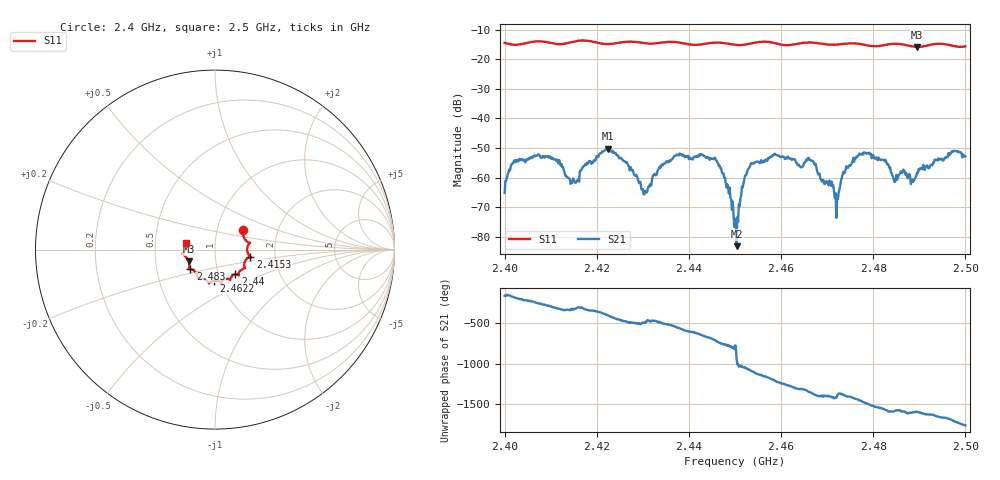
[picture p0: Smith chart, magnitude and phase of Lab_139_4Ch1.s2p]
# Hz S RI R 50
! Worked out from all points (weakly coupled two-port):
!   601 points, 2.4 GHz to 2.5 GHz, reference 50 ohm
!   highest |S21| = -50.26 dB at 2.4223 GHz (marker M1); lowest = -83.2 dB at 2.4503 GHz (marker M2)
!   lowest |S11| = -15.9 dB at 2.4895 GHz (marker M3), VSWR 1.38, Z = 36.9 - j4.99 ohm
!   |S11| at or under -10 dB: start of sweep to end of sweep
!   S12 and S22 are empty: the file has one direction only
!   S11 on the Smith chart (normalised r, x): 2.4 GHz: 1.33, +0.29; 2.4153 GHz: 1.48, -0.12; 2.44 GHz: 1.20, -0.34; 2.4622 GHz: 0.93, -0.33; 2.483 GHz: 0.74, -0.17; 2.5 GHz: 0.72, +0.06
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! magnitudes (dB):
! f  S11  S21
! 2.4 GHz  -14.5  -65.2
! 2.402 GHz  -15.2  -54.6
! 2.4068 GHz  -14.0  -52.6
! 2.4153 GHz  -14.0  -61.8
! 2.4167 GHz  -13.7  -57.3
! 2.4223 GHz  -14.9  -50.3
! 2.4303 GHz  -14.6  -65.7
! 2.4333 GHz  -14.6  -57.3
! 2.44 GHz  -15.0  -53.8
! 2.446 GHz  -14.4  -54.4
! 2.45 GHz  -15.1  -74.0
! 2.4503 GHz  -15.2  -83.2
! 2.4535 GHz  -14.7  -55.2
! 2.4622 GHz  -15.2  -53.6
! 2.4667 GHz  -14.4  -54.4
! 2.472 GHz  -15.1  -73.6
! 2.4737 GHz  -14.8  -58.6
! 2.4768 GHz  -14.8  -52.5
! 2.483 GHz  -15.1  -55.5
! 2.4833 GHz  -15.0  -55.8
! 2.4895 GHz  -15.9  -58.4
! 2.5 GHz  -15.7  -52.9
